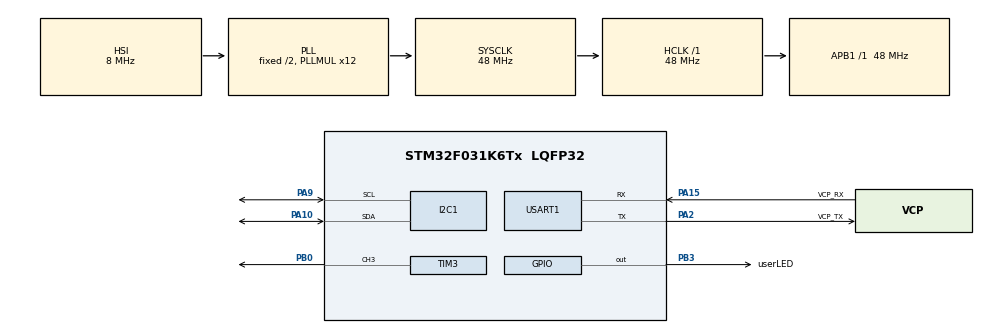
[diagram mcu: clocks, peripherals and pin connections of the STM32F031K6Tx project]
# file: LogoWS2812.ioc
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Dma.Request0=TIM3_CH3
Dma.TIM3_CH3.0.Direction=DMA_MEMORY_TO_PERIPH
Dma.TIM3_CH3.0.Instance=DMA1_Channel2
Dma.TIM3_CH3.0.MemDataAlignment=DMA_MDATAALIGN_HALFWORD
Dma.TIM3_CH3.0.MemInc=DMA_MINC_ENABLE
Dma.TIM3_CH3.0.Mode=DMA_NORMAL
Dma.TIM3_CH3.0.PeriphDataAlignment=DMA_PDATAALIGN_HALFWORD
Dma.TIM3_CH3.0.PeriphInc=DMA_PINC_DISABLE
Dma.TIM3_CH3.0.Priority=DMA_PRIORITY_VERY_HIGH
Mcu.Family=STM32F0
Mcu.Name=STM32F031K6Tx
Mcu.Package=LQFP32
NVIC.DMA1_Channel2_3_IRQn=true\:0\:0\:false\:false\:true\:false\:true
PA10.Mode=I2C
PA10.Signal=I2C1_SDA
PA13.GPIO_Label=SWDIO
PA13.Mode=Serial_Wire
PA13.Signal=SYS_SWDIO
PA14.GPIO_Label=SWCLK
PA14.Mode=Serial_Wire
PA14.Signal=SYS_SWCLK
PA15.GPIO_Label=VCP_RX
PA15.Mode=Asynchronous
PA15.Signal=USART1_RX
PA2.GPIO_Label=VCP_TX
PA2.Mode=Asynchronous
PA2.Signal=USART1_TX
PA9.Mode=I2C
PA9.Signal=I2C1_SCL
PB0.Signal=S_TIM3_CH3
PB3.GPIO_Label=userLED
PB3.Signal=GPIO_Output
PF0-OSC_IN.Mode=HSE-External-Clock-Source
PF0-OSC_IN.Signal=RCC_OSC_IN
ProjectManager.HeapSize=0x200
ProjectManager.StackSize=0x400
ProjectManager.TargetToolchain=SW4STM32
RCC.AHBFreq_Value=48000000
RCC.APB1Freq_Value=48000000
RCC.APB1TimFreq_Value=48000000
RCC.HCLKFreq_Value=48000000
RCC.PLLMUL=RCC_PLL_MUL12
RCC.SYSCLKFreq_VALUE=48000000
RCC.SYSCLKSource=RCC_SYSCLKSOURCE_PLLCLK
SH.S_TIM3_CH3.0=TIM3_CH3,PWM Generation3 CH3
TIM3.Channel-PWM\ Generation3\ CH3=TIM_CHANNEL_3
TIM3.Period=59
USART1.VirtualMode-Asynchronous=VM_ASYNC
board=NUCLEO-F031K6

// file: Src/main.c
/* USER CODE BEGIN Header */
/**
  ******************************************************************************
  * @file           : main.c
  * @brief          : Main program body
  ******************************************************************************
  * @attention
  *
  * <h2><center>&copy; Copyright (c) 2020 STMicroelectronics.
  * All rights reserved.</center></h2>
  *
  * This software component is licensed by ST under BSD 3-Clause license,
  * the "License"; You may not use this file except in compliance with the
  * License. You may obtain a copy of the License at:
  *                        opensource.org/licenses/BSD-3-Clause
  *
  ******************************************************************************
  */
/* USER CODE END Header */

#include "main.h"
#include "WS2812_Lib.h"

I2C_HandleTypeDef hi2c1;

TIM_HandleTypeDef htim3;
DMA_HandleTypeDef hdma_tim3_ch3;

UART_HandleTypeDef huart1;

void SystemClock_Config(void);
static void MX_GPIO_Init(void);
static void MX_DMA_Init(void);
static void MX_I2C1_Init(void);
static void MX_TIM3_Init(void);
static void MX_USART1_UART_Init(void);

int main(void)
{

  /* MCU Configuration--------------------------------------------------------*/

  /* Reset of all peripherals, Initializes the Flash interface and the Systick. */
  HAL_Init();

  /* Configure the system clock */
  SystemClock_Config();

  /* Initialize all configured peripherals */
  MX_GPIO_Init();
  MX_DMA_Init();
  MX_I2C1_Init();
  MX_TIM3_Init();
  MX_USART1_UART_Init();
  /* USER CODE BEGIN 2 */
  //WS2812_All_RGB((WS2812_RGB_t){0,0,0}, 1);
uint8_t factor=0;
int direction = 1;
uint8_t aRxBuffer[10];
//HAL_I2C_Slave_Receive_IT(&hi2c1,aRxBuffer,10);
  /* USER CODE END 2 */

  /* Infinite loop */
  while (1)
  {

    /* USER CODE BEGIN 3 */

	  //factor = factor + direction;

	  if(factor >= 255){
		  direction = -1;
	  }
	  else if (factor == 0){
		  direction = +1;
	  }
	  HAL_I2C_Slave_Receive(&hi2c1, aRxBuffer,10, 1000);
	  factor = aRxBuffer[9];
	  int brightness = aRxBuffer[8]+10;

	  for(int i=0;i<10;i++){
	 		WS2812_LED_BUF_CH1[i].red=0;
	 		WS2812_LED_BUF_CH1[i].blue=0;
	 		WS2812_LED_BUF_CH1[i].green=0;
	 		  }

		  if (factor>=20){
		 	WS2812_LED_BUF_CH1[0].red=brightness;
		 	WS2812_LED_BUF_CH1[0].blue=brightness;
		 	WS2812_LED_BUF_CH1[0].green=brightness;
		  }
		  if (factor>=40){
		 	WS2812_LED_BUF_CH1[1].red=brightness;
		 	WS2812_LED_BUF_CH1[1].blue=brightness;
		 	WS2812_LED_BUF_CH1[1].green=brightness;
		  }
		  if (factor>=60){
		 	WS2812_LED_BUF_CH1[2].red=brightness;
		 	WS2812_LED_BUF_CH1[2].blue=brightness;
		 	WS2812_LED_BUF_CH1[2].green=brightness;
		  }
		  if (factor>=80){
		 	WS2812_LED_BUF_CH1[3].red=brightness;
		 	WS2812_LED_BUF_CH1[3].blue=brightness;
		 	WS2812_LED_BUF_CH1[3].green=brightness;
		  }
		  if (factor>=100){
		 	WS2812_LED_BUF_CH1[4].red=brightness;
		 	WS2812_LED_BUF_CH1[4].blue=brightness;
		 	WS2812_LED_BUF_CH1[4].green=brightness;
		  }
		  if (factor>=120){
		 	WS2812_LED_BUF_CH1[5].red=brightness;
		 	WS2812_LED_BUF_CH1[5].blue=brightness;
		 	WS2812_LED_BUF_CH1[5].green=brightness;
		  }
		  if (factor>=140){
		 	WS2812_LED_BUF_CH1[6].red=brightness;
		 	WS2812_LED_BUF_CH1[6].blue=brightness;
		 	WS2812_LED_BUF_CH1[6].green=brightness;
		  }
		  if (factor>=160){
		 	WS2812_LED_BUF_CH1[7].red=brightness;
		 	WS2812_LED_BUF_CH1[7].blue=brightness;
		 	WS2812_LED_BUF_CH1[7].green=brightness;
		  }
		  if (factor>=200){
		 	WS2812_LED_BUF_CH1[8].red=brightness;
		 	WS2812_LED_BUF_CH1[8].blue=brightness;
		 	WS2812_LED_BUF_CH1[8].green=brightness;
		  }
		  if (factor>=240){
		 	WS2812_LED_BUF_CH1[9].red=brightness;
		 	WS2812_LED_BUF_CH1[9].blue=brightness;
		 	WS2812_LED_BUF_CH1[9].green=brightness;
		  }

	  //WS2812_All_RGB((WS2812_RGB_t) {factor, 0, factor}, 1);
	  HAL_GPIO_TogglePin(GPIOB, userLED_Pin);
	  WS2812_Refresh();
	  HAL_Delay(1);
  }

  /* USER CODE END 3 */
}

void HAL_I2C_SlaveRxCpltCallback(I2C_HandleTypeDef *hi2c)

{
	  HAL_Delay(100);

}
void SystemClock_Config(void)
{
  RCC_OscInitTypeDef RCC_OscInitStruct = {0};
  RCC_ClkInitTypeDef RCC_ClkInitStruct = {0};
  RCC_PeriphCLKInitTypeDef PeriphClkInit = {0};

  /** Initializes the CPU, AHB and APB busses clocks
  */
  RCC_OscInitStruct.OscillatorType = RCC_OSCILLATORTYPE_HSI;
  RCC_OscInitStruct.HSIState = RCC_HSI_ON;
  RCC_OscInitStruct.HSICalibrationValue = RCC_HSICALIBRATION_DEFAULT;
  RCC_OscInitStruct.PLL.PLLState = RCC_PLL_ON;
  RCC_OscInitStruct.PLL.PLLSource = RCC_PLLSOURCE_HSI;
  RCC_OscInitStruct.PLL.PLLMUL = RCC_PLL_MUL12;
  RCC_OscInitStruct.PLL.PREDIV = RCC_PREDIV_DIV1;
  if (HAL_RCC_OscConfig(&RCC_OscInitStruct) != HAL_OK)
  {
    Error_Handler();
  }
  /** Initializes the CPU, AHB and APB busses clocks
  */
  RCC_ClkInitStruct.ClockType = RCC_CLOCKTYPE_HCLK|RCC_CLOCKTYPE_SYSCLK
                              |RCC_CLOCKTYPE_PCLK1;
  RCC_ClkInitStruct.SYSCLKSource = RCC_SYSCLKSOURCE_PLLCLK;
  RCC_ClkInitStruct.AHBCLKDivider = RCC_SYSCLK_DIV1;
  RCC_ClkInitStruct.APB1CLKDivider = RCC_HCLK_DIV1;

  if (HAL_RCC_ClockConfig(&RCC_ClkInitStruct, FLASH_LATENCY_1) != HAL_OK)
  {
    Error_Handler();
  }
  PeriphClkInit.PeriphClockSelection = RCC_PERIPHCLK_USART1|RCC_PERIPHCLK_I2C1;
  PeriphClkInit.Usart1ClockSelection = RCC_USART1CLKSOURCE_PCLK1;
  PeriphClkInit.I2c1ClockSelection = RCC_I2C1CLKSOURCE_HSI;
  if (HAL_RCCEx_PeriphCLKConfig(&PeriphClkInit) != HAL_OK)
  {
    Error_Handler();
  }
}

static void MX_I2C1_Init(void)
{

  hi2c1.Instance = I2C1;
  hi2c1.Init.Timing = 0x00101D2D;
  hi2c1.Init.OwnAddress1 = 50;
  hi2c1.Init.AddressingMode = I2C_ADDRESSINGMODE_7BIT;
  hi2c1.Init.DualAddressMode = I2C_DUALADDRESS_DISABLE;
  hi2c1.Init.OwnAddress2 = 0;
  hi2c1.Init.OwnAddress2Masks = I2C_OA2_NOMASK;
  hi2c1.Init.GeneralCallMode = I2C_GENERALCALL_ENABLE;
  hi2c1.Init.NoStretchMode = I2C_NOSTRETCH_ENABLE;
  if (HAL_I2C_Init(&hi2c1) != HAL_OK)
  {
    Error_Handler();
  }
  /** Configure Analogue filter
  */
  if (HAL_I2CEx_ConfigAnalogFilter(&hi2c1, I2C_ANALOGFILTER_ENABLE) != HAL_OK)
  {
    Error_Handler();
  }
  /** Configure Digital filter
  */
  if (HAL_I2CEx_ConfigDigitalFilter(&hi2c1, 0) != HAL_OK)
  {
    Error_Handler();
  }

}

static void MX_TIM3_Init(void)
{

  TIM_MasterConfigTypeDef sMasterConfig = {0};
  TIM_OC_InitTypeDef sConfigOC = {0};

  htim3.Instance = TIM3;
  htim3.Init.Prescaler = 0;
  htim3.Init.CounterMode = TIM_COUNTERMODE_UP;
  htim3.Init.Period = 59;
  htim3.Init.ClockDivision = TIM_CLOCKDIVISION_DIV1;
  htim3.Init.AutoReloadPreload = TIM_AUTORELOAD_PRELOAD_DISABLE;
  if (HAL_TIM_PWM_Init(&htim3) != HAL_OK)
  {
    Error_Handler();
  }
  sMasterConfig.MasterOutputTrigger = TIM_TRGO_RESET;
  sMasterConfig.MasterSlaveMode = TIM_MASTERSLAVEMODE_DISABLE;
  if (HAL_TIMEx_MasterConfigSynchronization(&htim3, &sMasterConfig) != HAL_OK)
  {
    Error_Handler();
  }
  sConfigOC.OCMode = TIM_OCMODE_PWM1;
  sConfigOC.Pulse = 0;
  sConfigOC.OCPolarity = TIM_OCPOLARITY_HIGH;
  sConfigOC.OCFastMode = TIM_OCFAST_DISABLE;
  if (HAL_TIM_PWM_ConfigChannel(&htim3, &sConfigOC, TIM_CHANNEL_3) != HAL_OK)
  {
    Error_Handler();
  }
  HAL_TIM_MspPostInit(&htim3);

}

static void MX_USART1_UART_Init(void)
{

  huart1.Instance = USART1;
  huart1.Init.BaudRate = 38400;
  huart1.Init.WordLength = UART_WORDLENGTH_8B;
  huart1.Init.StopBits = UART_STOPBITS_1;
  huart1.Init.Parity = UART_PARITY_NONE;
  huart1.Init.Mode = UART_MODE_TX_RX;
  huart1.Init.HwFlowCtl = UART_HWCONTROL_NONE;
  huart1.Init.OverSampling = UART_OVERSAMPLING_16;
  huart1.Init.OneBitSampling = UART_ONE_BIT_SAMPLE_DISABLE;
  huart1.AdvancedInit.AdvFeatureInit = UART_ADVFEATURE_NO_INIT;
  if (HAL_UART_Init(&huart1) != HAL_OK)
  {
    Error_Handler();
  }

}

static void MX_DMA_Init(void)
{

  /* DMA controller clock enable */
  __HAL_RCC_DMA1_CLK_ENABLE();

  /* DMA interrupt init */
  /* DMA1_Channel2_3_IRQn interrupt configuration */
  HAL_NVIC_SetPriority(DMA1_Channel2_3_IRQn, 1, 0);
  HAL_NVIC_EnableIRQ(DMA1_Channel2_3_IRQn);

}

static void MX_GPIO_Init(void)
{
  GPIO_InitTypeDef GPIO_InitStruct = {0};

  /* GPIO Ports Clock Enable */
  __HAL_RCC_GPIOF_CLK_ENABLE();
  __HAL_RCC_GPIOA_CLK_ENABLE();
  __HAL_RCC_GPIOB_CLK_ENABLE();

  /*Configure GPIO pin Output Level */
  HAL_GPIO_WritePin(userLED_GPIO_Port, userLED_Pin, GPIO_PIN_RESET);

  /*Configure GPIO pin : userLED_Pin */
  GPIO_InitStruct.Pin = userLED_Pin;
  GPIO_InitStruct.Mode = GPIO_MODE_OUTPUT_PP;
  GPIO_InitStruct.Pull = GPIO_NOPULL;
  GPIO_InitStruct.Speed = GPIO_SPEED_FREQ_LOW;
  HAL_GPIO_Init(userLED_GPIO_Port, &GPIO_InitStruct);

}

void Error_Handler(void)
{
}

/************************ (C) COPYRIGHT STMicroelectronics *****END OF FILE****/
